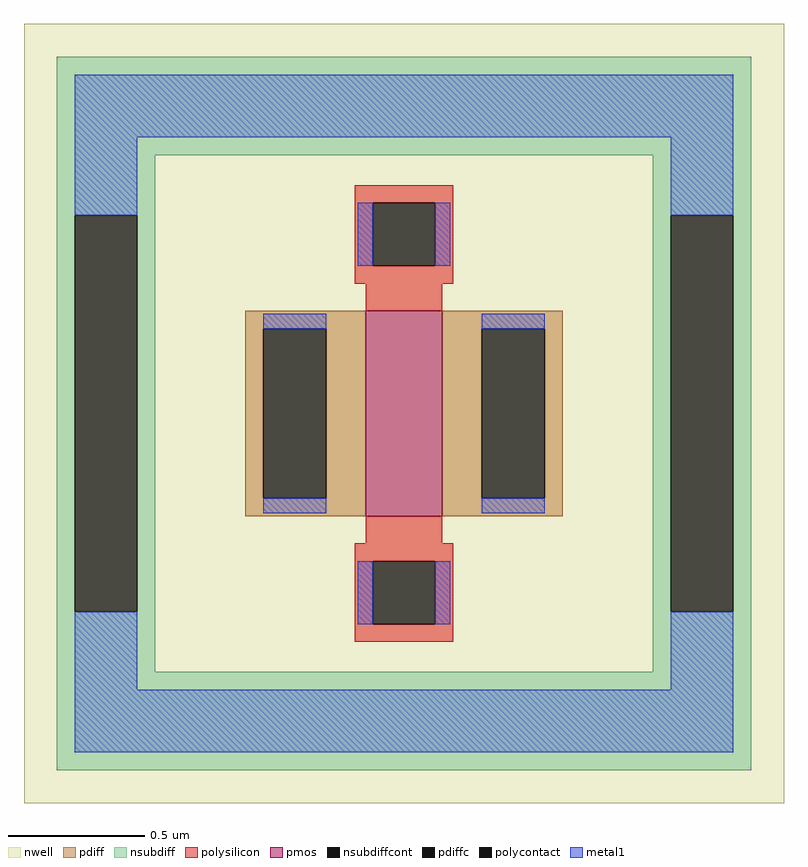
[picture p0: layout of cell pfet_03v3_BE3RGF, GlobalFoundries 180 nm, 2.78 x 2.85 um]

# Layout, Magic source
magic
tech gf180mcuD
magscale 1 10
<< nwell >>
rect -278 -285 278 285
<< pmos >>
rect -28 -75 28 75
<< pdiff >>
rect -116 62 -28 75
rect -116 -62 -103 62
rect -57 -62 -28 62
rect -116 -75 -28 -62
rect 28 62 116 75
rect 28 -62 57 62
rect 103 -62 116 62
rect 28 -75 116 -62
<< pdiffc >>
rect -103 -62 -57 62
rect 57 -62 103 62
<< nsubdiff >>
rect -254 189 254 261
rect -254 145 -182 189
rect -254 -145 -241 145
rect -195 -145 -182 145
rect 182 145 254 189
rect -254 -189 -182 -145
rect 182 -145 195 145
rect 241 -145 254 145
rect 182 -189 254 -145
rect -254 -261 254 -189
<< nsubdiffcont >>
rect -241 -145 -195 145
rect 195 -145 241 145
<< polysilicon >>
rect -36 154 36 167
rect -36 108 -23 154
rect 23 108 36 154
rect -36 95 36 108
rect -28 75 28 95
rect -28 -95 28 -75
rect -36 -108 36 -95
rect -36 -154 -23 -108
rect 23 -154 36 -108
rect -36 -167 36 -154
<< polycontact >>
rect -23 108 23 154
rect -23 -154 23 -108
<< metal1 >>
rect -241 202 241 248
rect -241 145 -195 202
rect -34 108 -23 154
rect 23 108 34 154
rect 195 145 241 202
rect -103 62 -57 73
rect -103 -73 -57 -62
rect 57 62 103 73
rect 57 -73 103 -62
rect -241 -202 -195 -145
rect -34 -154 -23 -108
rect 23 -154 34 -108
rect 195 -202 241 -145
rect -241 -248 241 -202
<< properties >>
string FIXED_BBOX -218 -225 218 225
string gencell pfet_03v3
string library gf180mcu
string parameters w 0.75 l 0.28 m 1 nf 1 diffcov 100 polycov 100 guard 1 glc 1 grc 1 gtc 0 gbc 0 tbcov 100 rlcov 100 topc 1 botc 1 poverlap 0 doverlap 1 lmin 0.28 wmin 0.22 class mosfet full_metal 1 compatible {pfet_03v3 pfet_05v0 pfet_06v0} ad {int((nf+1)/2) * W/nf * 0.18u} as {int((nf+2)/2) * W/nf * 0.18u} pd {2*int((nf+1)/2) * (W/nf + 0.18u)} ps {2*int((nf+2)/2) * (W/nf + 0.18u)} nrd {0.18u / W} nrs {0.18u / W} sa 0 sb 0 sd 0
<< end >>
